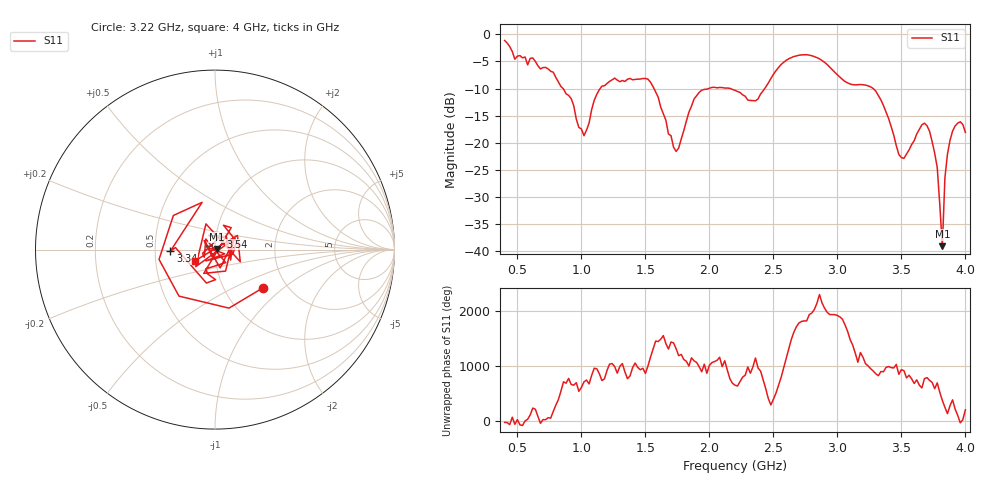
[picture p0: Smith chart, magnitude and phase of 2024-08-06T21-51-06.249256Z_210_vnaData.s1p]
!Created with skrf (http://scikit-rf.org).
# Hz S RI R 50.0
!freq ReS11 ImS11
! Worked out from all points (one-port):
!   181 points, 400 MHz to 4 GHz, reference 50 ohm
!   lowest |S11| = -39.0 dB at 3.82 GHz (marker M1), VSWR 1.02, Z = 51.1 + j0.362 ohm
!   |S11| at or under -10 dB: 857.3 MHz to 1.146 GHz (288.8 MHz wide, 28.8 % of centre); 1.567 GHz to 1.993 GHz (425.5 MHz wide, 23.9 % of centre); 3.28 GHz to end of sweep (the widest 3 of 4)
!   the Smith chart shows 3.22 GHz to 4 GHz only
!   S11 on the Smith chart (normalised r, x): 3.22 GHz: 1.51, -0.73; 3.34 GHz: 0.60, -0.01; 3.54 GHz: 1.05, +0.15; 4 GHz: 0.80, -0.10
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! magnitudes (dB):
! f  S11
! 400 MHz  -1.1
! 480 MHz  -4.6
! 620 MHz  -4.4
! 860 MHz  -10.1
! 1.02 GHz  -18.7
! 1.14 GHz  -10.2
! 1.3 GHz  -8.7
! 1.52 GHz  -8.3
! 1.72 GHz  -20.8
! 1.76 GHz  -21.0
! 1.92 GHz  -10.7
! 2.2 GHz  -10.3
! 2.36 GHz  -12.2
! 2.66 GHz  -4.1
! 3.1 GHz  -9.2
! 3.22 GHz  -9.3
! 3.34 GHz  -12.1
! 3.48 GHz  -22.1
! 3.54 GHz  -22.1
! 3.56 GHz  -21.3
! 3.66 GHz  -16.7
! 3.72 GHz  -17.9
! 3.78 GHz  -24.5
! 3.82 GHz  -39.0
! 3.84 GHz  -26.4
! 3.88 GHz  -19.5
! 3.96 GHz  -16.1
! 4 GHz  -18.1
